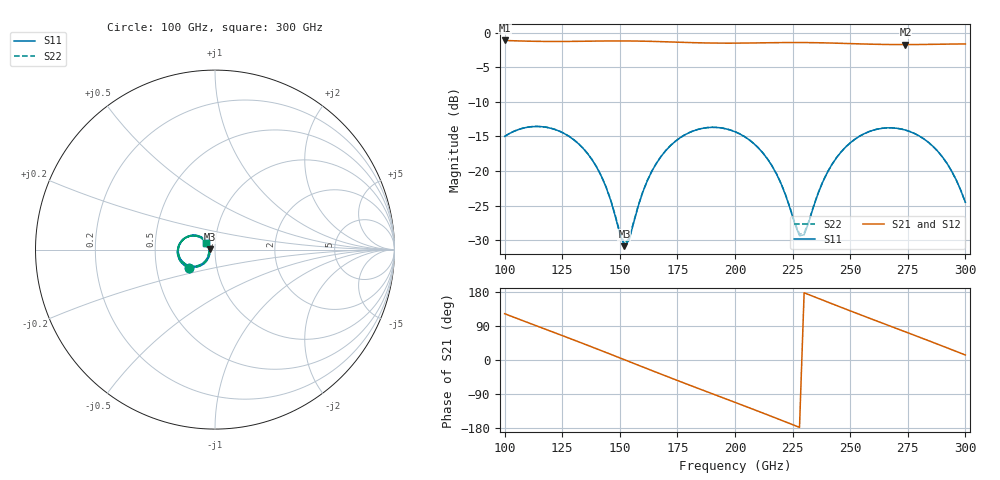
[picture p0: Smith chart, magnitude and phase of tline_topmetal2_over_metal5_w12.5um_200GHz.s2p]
#  GHZ S DB R 50
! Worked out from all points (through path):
!   101 points, 100 GHz to 300 GHz, reference 50 ohm
!   highest |S21| = -1.13 dB at 100 GHz (marker M1); lowest = -1.7 dB at 274 GHz (marker M2)
!   group delay of S21, straight-line fit = 6.52 ps
!   lowest |S11| = -30.9 dB at 152 GHz (marker M3), VSWR 1.06, Z = 47.2 + j0.0852 ohm
!   |S11| at or under -10 dB: start of sweep to end of sweep
!   |S22| runs from -30.6 to -13.6 dB; largest |S21 - S12| = 9.5e-14
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100  -15.00 -145.4  -1.13 122.2  -1.13 122.2  -14.99 -145.3
116  -13.59 -178.3  -1.26 85.2  -1.26 85.2  -13.58 -178.0
124  -14.28 165.5  -1.28 66.8  -1.28 66.8  -14.27 165.8
134  -16.70 146.6  -1.24 43.5  -1.24 43.5  -16.68 147.1
144  -22.31 134.9  -1.20 19.9  -1.20 19.9  -22.26 135.8
152  -30.87 178.2  -1.20 0.8  -1.20 0.8  -30.55 178.5
154  -30.01 -153.4  -1.20 -4.0  -1.20 -4.0  -29.75 -154.1
162  -21.36 -126.7  -1.25 -23.2  -1.25 -23.2  -21.33 -127.2
168  -17.86 -133.5  -1.30 -37.5  -1.30 -37.5  -17.84 -133.7
184  -13.98 -162.9  -1.46 -74.9  -1.46 -74.9  -13.97 -162.8
200  -14.32 165.8  -1.51 -111.8  -1.51 -111.8  -14.31 166.0
216  -19.23 139.5  -1.45 -149.2  -1.45 -149.2  -19.20 140.1
228  -29.36 172.8  -1.43 -177.8  -1.43 -177.8  -29.12 173.2
230  -29.22 -162.9  -1.43 177.4  -1.43 177.4  -28.99 -163.3
234  -25.26 -135.4  -1.45 167.8  -1.45 167.8  -25.17 -136.0
240  -20.27 -131.1  -1.49 153.4  -1.49 153.4  -20.24 -131.5
248  -16.55 -141.2  -1.56 134.5  -1.56 134.5  -16.54 -141.4
258  -14.33 -159.1  -1.66 111.1  -1.66 111.1  -14.33 -159.2
268  -13.76 -178.2  -1.72 88.0  -1.72 88.0  -13.76 -178.2
274  -14.09 170.5  -1.72 74.2  -1.72 74.2  -14.09 170.5
288  -17.15 146.4  -1.68 41.6  -1.68 41.6  -17.15 146.4
300  -24.53 144.3  -1.63 13.1  -1.63 13.1  -24.56 144.3
